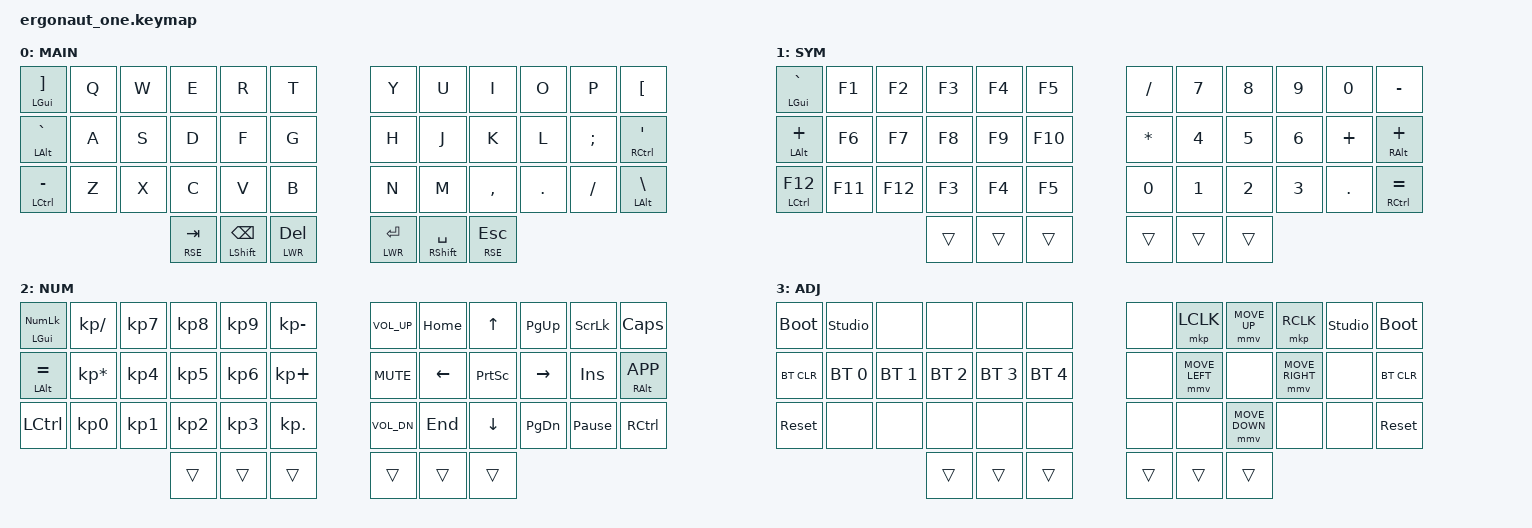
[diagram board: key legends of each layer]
#include <behaviors.dtsi>
#include <dt-bindings/zmk/bt.h>
#include <dt-bindings/zmk/keys.h>
#include <dt-bindings/zmk/pointing.h>

#define DEF 0
#define LWR 1
#define RSE 2
#define ADJ 3

&lt { quick-tap-ms = <200>; };

&mt { quick-tap-ms = <200>; };

/ {
    conditional_layers {
        compatible = "zmk,conditional-layers";

        tri-layer {
            if-layers = <LWR RSE>;
            then-layer = <ADJ>;
        };
    };

    keymap {
        compatible = "zmk,keymap";

        default_layer {
            display-name = "MAIN";
            bindings = <
&mt LGUI RBKT           &kp Q  &kp W  &kp E        &kp R                &kp T        &kp Y          &kp U            &kp I           &kp O    &kp P     &kp LBKT
&mt LEFT_ALT GRAVE      &kp A  &kp S  &kp D        &kp F                &kp G        &kp H          &kp J            &kp K           &kp L    &kp SEMI  &mt RCTRL SQT
&mt LEFT_CONTROL MINUS  &kp Z  &kp X  &kp C        &kp V                &kp B        &kp N          &kp M            &kp COMMA       &kp DOT  &kp FSLH  &mt LEFT_ALT BSLH
                                      &lt RSE TAB  &mt LSHFT BACKSPACE  &lt LWR DEL  &lt LWR ENTER  &mt RSHFT SPACE  &lt RSE ESCAPE
            >;
        };

        lower_layer {
            display-name = "SYM";
            bindings = <
&mt LGUI GRAVE        &kp F1   &kp F2   &kp F3  &kp F4  &kp F5   &kp SLASH     &kp N7        &kp N8        &kp N9        &kp N0      &kp MINUS
&mt LEFT_ALT PLUS     &kp F6   &kp F7   &kp F8  &kp F9  &kp F10  &kp ASTERISK  &kp NUMBER_4  &kp N5        &kp NUMBER_6  &kp PLUS    &mt RIGHT_ALT PLUS
&mt LEFT_CONTROL F12  &kp F11  &kp F12  &kp F3  &kp F4  &kp F5   &kp NUMBER_0  &kp NUMBER_1  &kp NUMBER_2  &kp NUMBER_3  &kp PERIOD  &mt RIGHT_CONTROL EQUAL
                                        &trans  &trans  &trans   &trans        &trans        &trans
            >;
        };

        raise_layer {
            display-name = "NUM";
            bindings = <
&mt LGUI KP_NUM     &kp KP_SLASH     &kp KP_N7  &kp KP_N8  &kp KP_N9  &kp KP_MINUS  &kp C_VOL_UP  &kp HOME  &kp UP     &kp PG_UP  &kp SLCK         &kp CLCK
&mt LEFT_ALT EQUAL  &kp KP_MULTIPLY  &kp KP_N4  &kp KP_N5  &kp KP_N6  &kp KP_PLUS   &kp C_MUTE    &kp LEFT  &kp PSCRN  &kp RIGHT  &kp INS          &mt RIGHT_ALT K_APP
&kp LEFT_CONTROL    &kp KP_N0        &kp KP_N1  &kp KP_N2  &kp KP_N3  &kp KP_DOT    &kp C_VOL_DN  &kp END   &kp DOWN   &kp PG_DN  &kp PAUSE_BREAK  &kp RIGHT_CONTROL
                                                &trans     &trans     &trans        &trans        &trans    &trans
            >;
        };

        adjust_layer {
            display-name = "ADJ";
            bindings = <
&bootloader  &studio_unlock  &none         &none         &none         &none         &none   &mkp LCLK       &mmv MOVE_UP    &mkp RCLK        &studio_unlock  &bootloader
&bt BT_CLR   &bt BT_SEL 0    &bt BT_SEL 1  &bt BT_SEL 2  &bt BT_SEL 3  &bt BT_SEL 4  &none   &mmv MOVE_LEFT  &none           &mmv MOVE_RIGHT  &none           &bt BT_CLR
&sys_reset   &none           &none         &none         &none         &none         &none   &none           &mmv MOVE_DOWN  &none            &none           &sys_reset
                                           &trans        &trans        &trans        &trans  &trans          &trans
            >;
        };
    };
};
